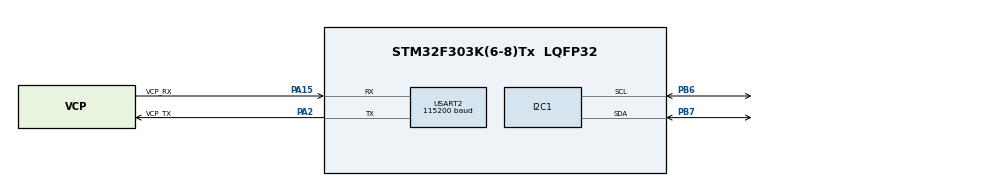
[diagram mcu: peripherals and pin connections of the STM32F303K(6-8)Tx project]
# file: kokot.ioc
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Dma.I2C1_RX.0.Direction=DMA_PERIPH_TO_MEMORY
Dma.I2C1_RX.0.Instance=DMA1_Channel3
Dma.I2C1_RX.0.MemDataAlignment=DMA_MDATAALIGN_BYTE
Dma.I2C1_RX.0.MemInc=DMA_MINC_ENABLE
Dma.I2C1_RX.0.Mode=DMA_NORMAL
Dma.I2C1_RX.0.PeriphDataAlignment=DMA_PDATAALIGN_BYTE
Dma.I2C1_RX.0.PeriphInc=DMA_PINC_DISABLE
Dma.I2C1_RX.0.Priority=DMA_PRIORITY_LOW
Dma.I2C1_TX.2.Direction=DMA_MEMORY_TO_PERIPH
Dma.I2C1_TX.2.Instance=DMA1_Channel2
Dma.I2C1_TX.2.MemDataAlignment=DMA_MDATAALIGN_BYTE
Dma.I2C1_TX.2.MemInc=DMA_MINC_ENABLE
Dma.I2C1_TX.2.Mode=DMA_NORMAL
Dma.I2C1_TX.2.PeriphDataAlignment=DMA_PDATAALIGN_BYTE
Dma.I2C1_TX.2.PeriphInc=DMA_PINC_DISABLE
Dma.I2C1_TX.2.Priority=DMA_PRIORITY_LOW
Dma.Request0=I2C1_RX
Dma.Request1=USART2_RX
Dma.Request2=I2C1_TX
Dma.Request3=USART2_TX
Dma.USART2_RX.1.Direction=DMA_PERIPH_TO_MEMORY
Dma.USART2_RX.1.Instance=DMA1_Channel6
Dma.USART2_RX.1.MemDataAlignment=DMA_MDATAALIGN_BYTE
Dma.USART2_RX.1.MemInc=DMA_MINC_ENABLE
Dma.USART2_RX.1.Mode=DMA_NORMAL
Dma.USART2_RX.1.PeriphDataAlignment=DMA_PDATAALIGN_BYTE
Dma.USART2_RX.1.PeriphInc=DMA_PINC_DISABLE
Dma.USART2_RX.1.Priority=DMA_PRIORITY_LOW
Dma.USART2_TX.3.Direction=DMA_MEMORY_TO_PERIPH
Dma.USART2_TX.3.Instance=DMA1_Channel7
Dma.USART2_TX.3.MemDataAlignment=DMA_MDATAALIGN_BYTE
Dma.USART2_TX.3.MemInc=DMA_MINC_ENABLE
Dma.USART2_TX.3.Mode=DMA_NORMAL
Dma.USART2_TX.3.PeriphDataAlignment=DMA_PDATAALIGN_BYTE
Dma.USART2_TX.3.PeriphInc=DMA_PINC_DISABLE
Dma.USART2_TX.3.Priority=DMA_PRIORITY_LOW
I2C1.OwnAddress=1
Mcu.Family=STM32F3
Mcu.Name=STM32F303K(6-8)Tx
Mcu.Package=LQFP32
NVIC.DMA1_Channel2_IRQn=true\:0\:0\:false\:false\:true\:false\:true\:true
NVIC.DMA1_Channel3_IRQn=true\:0\:0\:false\:false\:true\:false\:true\:true
NVIC.DMA1_Channel6_IRQn=true\:0\:0\:false\:false\:true\:false\:true\:true
NVIC.DMA1_Channel7_IRQn=true\:0\:0\:false\:false\:true\:false\:true\:true
NVIC.I2C1_EV_IRQn=true\:0\:0\:false\:false\:true\:true\:true\:true
NVIC.PriorityGroup=NVIC_PRIORITYGROUP_4
NVIC.USART2_IRQn=true\:0\:0\:false\:false\:true\:true\:true\:true
PA13.GPIO_Label=SWDIO
PA13.Mode=Serial_Wire
PA13.Signal=SYS_JTMS-SWDIO
PA14.GPIO_Label=SWCLK
PA14.Mode=Serial_Wire
PA14.Signal=SYS_JTCK-SWCLK
PA15.GPIO_Label=VCP_RX
PA15.Mode=Asynchronous
PA15.Signal=USART2_RX
PA2.GPIO_Label=VCP_TX
PA2.Mode=Asynchronous
PA2.Signal=USART2_TX
PB6.Mode=I2C
PB6.Signal=I2C1_SCL
PB7.Mode=I2C
PB7.Signal=I2C1_SDA
PF0\ /\ OSC_IN.GPIO_Label=MCO
PF0\ /\ OSC_IN.Mode=HSE-External-Clock-Source
PF0\ /\ OSC_IN.Signal=RCC_OSC_IN
ProjectManager.HeapSize=0x200
ProjectManager.StackSize=0x400
ProjectManager.TargetToolchain=STM32CubeIDE
RCC.AHBFreq_Value=8000000
RCC.APB1Freq_Value=8000000
RCC.APB2Freq_Value=8000000
RCC.CortexFreq_Value=8000000
RCC.HSE_VALUE=8000000
RCC.HSI_VALUE=8000000
RCC.SYSCLKFreq_VALUE=8000000
USART2.BaudRate=115200
USART2.VirtualMode-Asynchronous=VM_ASYNC
board=NUCLEO-F303K8

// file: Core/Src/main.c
/* USER CODE BEGIN Header */
/**
  ******************************************************************************
  * @file           : main.c
  * @brief          : Main program body
  ******************************************************************************
  * @attention
  *
  * Copyright (c) 2023 STMicroelectronics.
  * All rights reserved.
  *
  * This software is licensed under terms that can be found in the LICENSE file
  * in the root directory of this software component.
  * If no LICENSE file comes with this software, it is provided AS-IS.
  *
  ******************************************************************************
  */
/* USER CODE END Header */
#include "main.h"
#include "dma.h"
#include "i2c.h"
#include "usart.h"
#include "gpio.h"

#include <stdio.h>
#include <stdlib.h>
#include "../Drivers/HTS221/hts221.h"
#include "../Drivers/LPS22HB/lps22hb.h"

void SystemClock_Config(void);

int main(void)
{

  /* MCU Configuration--------------------------------------------------------*/

  /* Reset of all peripherals, Initializes the Flash interface and the Systick. */
  LL_APB2_GRP1_EnableClock(LL_APB2_GRP1_PERIPH_SYSCFG);
  LL_APB1_GRP1_EnableClock(LL_APB1_GRP1_PERIPH_PWR);

  /* System interrupt init*/
  NVIC_SetPriorityGrouping(NVIC_PRIORITYGROUP_4);

  /* Configure the system clock */
  SystemClock_Config();

  /* Initialize all configured peripherals */
  MX_GPIO_Init();
  MX_DMA_Init();
  MX_USART2_UART_Init();
  MX_I2C1_Init();
  /* USER CODE BEGIN 2 */
  uint8_t hts_work = hts221_init();
  uint8_t lps_work = lps22hb_init();
  /* USER CODE END 2 */

  /* Infinite loop */
  /* USER CODE BEGIN WHILE */
  float temp, hum;
  float press, alt;

  uint8_t *buffer;
  int len;
  while (1)
  {
	  if(hts_work){
		  temp = hts221_get_temperature();
		  hum = hts221_get_humidity();
	  }else{
		  temp = 0;
		  hum = 0;
	  }
    if(lps_work){
      press = lps22hb_get_pressure();
      alt = lps22hb_calculate_altitude(press);
    }else{
      press = 0;
      alt = 0;
    }
	  buffer = malloc(32*sizeof(uint8_t));
	  len = sprintf(buffer, "%2.1f,%2.0f,%4.2f,%3.2f\n",temp,hum,press,alt);
	  USART2_PutBuffer(buffer, len);
	  free(buffer);
	  char message[120] = {0};
	  	int len = sprintf(message, "%5.2f,%5.2f,%5.2f,%5.2f,%5.2f,%5.2f,%5.2f,%5.2f\n", tx0, tx1, ty0, ty1, hx0, hx1, hy0, hy1);
	  	USART2_PutBuffer(message, len);
	  	LL_mDelay(1000);
    /* USER CODE END WHILE */

  }
}

void SystemClock_Config(void)
{
  LL_FLASH_SetLatency(LL_FLASH_LATENCY_0);
  while(LL_FLASH_GetLatency()!= LL_FLASH_LATENCY_0)
  {
  }
  LL_RCC_HSI_Enable();

   /* Wait till HSI is ready */
  while(LL_RCC_HSI_IsReady() != 1)
  {

  }
  LL_RCC_HSI_SetCalibTrimming(16);
  LL_RCC_SetAHBPrescaler(LL_RCC_SYSCLK_DIV_1);
  LL_RCC_SetAPB1Prescaler(LL_RCC_APB1_DIV_1);
  LL_RCC_SetAPB2Prescaler(LL_RCC_APB2_DIV_1);
  LL_RCC_SetSysClkSource(LL_RCC_SYS_CLKSOURCE_HSI);

   /* Wait till System clock is ready */
  while(LL_RCC_GetSysClkSource() != LL_RCC_SYS_CLKSOURCE_STATUS_HSI)
  {

  }
  LL_Init1msTick(8000000);
  LL_SetSystemCoreClock(8000000);
  LL_RCC_SetI2CClockSource(LL_RCC_I2C1_CLKSOURCE_HSI);
}

void Error_Handler(void)
{
  __disable_irq();
  while (1)
  {
  }
}
